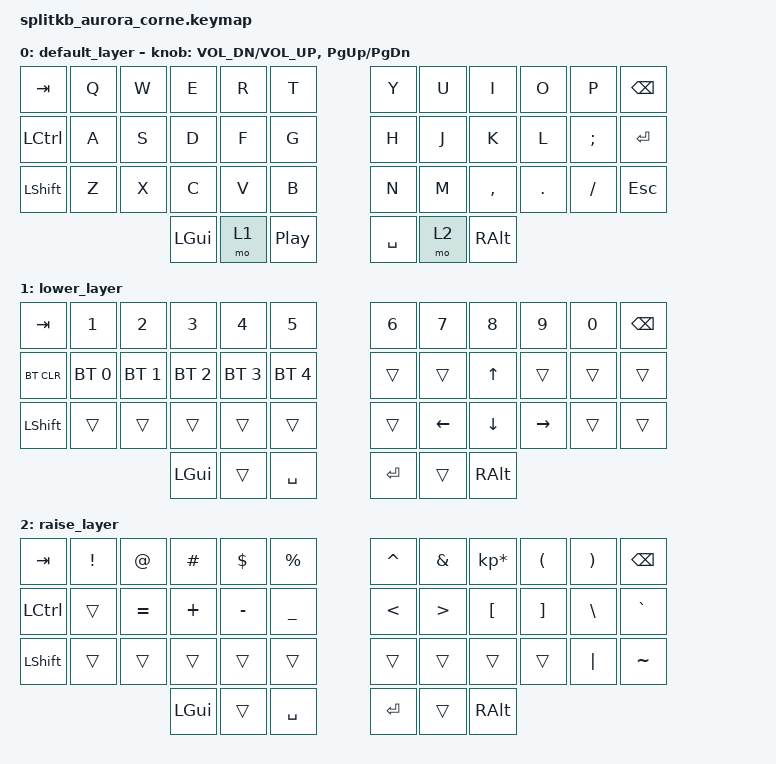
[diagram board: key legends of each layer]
/*
 * Copyright (c) 2020 The ZMK Contributors
 *
 * SPDX-License-Identifier: MIT
 */

#include <behaviors.dtsi>
#include <dt-bindings/zmk/bt.h>
#include <dt-bindings/zmk/keys.h>
#include <zephyr/dt-bindings/gpio/gpio.h>

&led_strip {
    chain-length = <27>;
};

&nice_view_spi {
    cs-gpios = <&pro_micro 0 GPIO_ACTIVE_HIGH>;
};
/ {
    keymap {
        compatible = "zmk,keymap";

        default_layer {
// -----------------------------------------------------------------------------------------
// | TAB  |  Q  |  W  |  E  |  R  |  T  |   |  Y  |  U   |  I  |  O  |  P  | BKSP |
// | CTRL |  A  |  S  |  D  |  F  |  G  |   |  H  |  J   |  K  |  L  |  ;  | ENT  |
// | SHFT |  Z  |  X  |  C  |  V  |  B  |   |  N  |  M   |  ,  |  .  |  /  | ESC  |
//                    | GUI | LWR |  PP |   | SPC | RSE  | ALT |

            bindings = <
        &kp TAB    &kp Q  &kp W     &kp E     &kp R     &kp T        &kp Y  &kp U      &kp I      &kp O    &kp P      &kp BSPC
        &kp LCTRL  &kp A  &kp S     &kp D     &kp F     &kp G        &kp H  &kp J      &kp K      &kp L    &kp SEMI   &kp RET
        &kp LSHFT  &kp Z  &kp X     &kp C     &kp V     &kp B        &kp N  &kp M      &kp COMMA  &kp DOT  &kp FSLH   &kp ESC
                                    &kp LGUI  &mo 1     &kp C_PP     &kp SPC         &mo 2      &kp RALT
            >;

            sensor-bindings = <&inc_dec_kp C_VOL_DN C_VOL_UP &inc_dec_kp PG_UP PG_DN>;
        };

        lower_layer {
// -----------------------------------------------------------------------------------------
// | TAB  |  1  |  2  |  3  |  4  |  5  |   |  6  |  7  |  8  |  9  |  0  | BKSP |
// | BTCLR| BT1 | BT2 | BT3 | BT4 | BT5 |   |     |     |  UP |     |     |      |
// | SHFT |     |     |     |     |     |   |     | LFT | DWN | RGT |     |      |
//                    | GUI |     | SPC |   | ENT |     | ALT |

            bindings = <
        &kp TAB         &kp N1        &kp N2        &kp N3        &kp N4        &kp N5          &kp N6          &kp N7          &kp N8     &kp N9     &kp N0    &kp BSPC
        &bt BT_CLR      &bt BT_SEL 0  &bt BT_SEL 1  &bt BT_SEL 2  &bt BT_SEL 3  &bt BT_SEL 4    &trans          &trans          &kp UP     &trans     &trans    &trans
        &kp LSHFT       &trans        &trans        &trans        &trans        &trans          &trans          &kp LEFT_ARROW  &kp DOWN   &kp RIGHT  &trans    &trans
                                                    &kp LGUI      &trans        &kp SPC       &kp RET         &trans          &kp RALT
            >;
        };

        raise_layer {
// -----------------------------------------------------------------------------------------
// | TAB  |  !  |  @  |  #  |  $  |  %  |   |  ^  |  &  |  *  |  (  |  )  | BKSP |
// | CTRL |     |  =  |  +  |  -  |  _  |   |  <  |  >  |  [  |  ]  |  \  |  `   |
// | SHFT |     |     |     |     |     |   |     |     |  {  |  }  | "|" |  ~   |
//                    | GUI |     | SPC |   | ENT |     | ALT |

            bindings = <
        &kp TAB      &kp EXCL   &kp AT       &kp HASH   &kp DLLR   &kp PRCNT    &kp CARET       &kp AMPS  &kp KP_MULTIPLY  &kp LPAR  &kp RPAR  &kp BSPC
        &kp LCTRL    &trans     &kp EQUAL    &kp PLUS   &kp MINUS  &kp UNDER    &kp LESS_THAN   &kp GT    &kp LBKT         &kp RBKT  &kp BSLH  &kp GRAVE
        &kp LSHFT    &trans     &trans       &trans     &trans     &trans       &trans          &trans    &trans           &trans    &kp PIPE  &kp TILDE
                                             &kp LGUI   &trans     &kp SPC    &kp RET         &trans    &kp RALT
            >;
        };
    };
};
